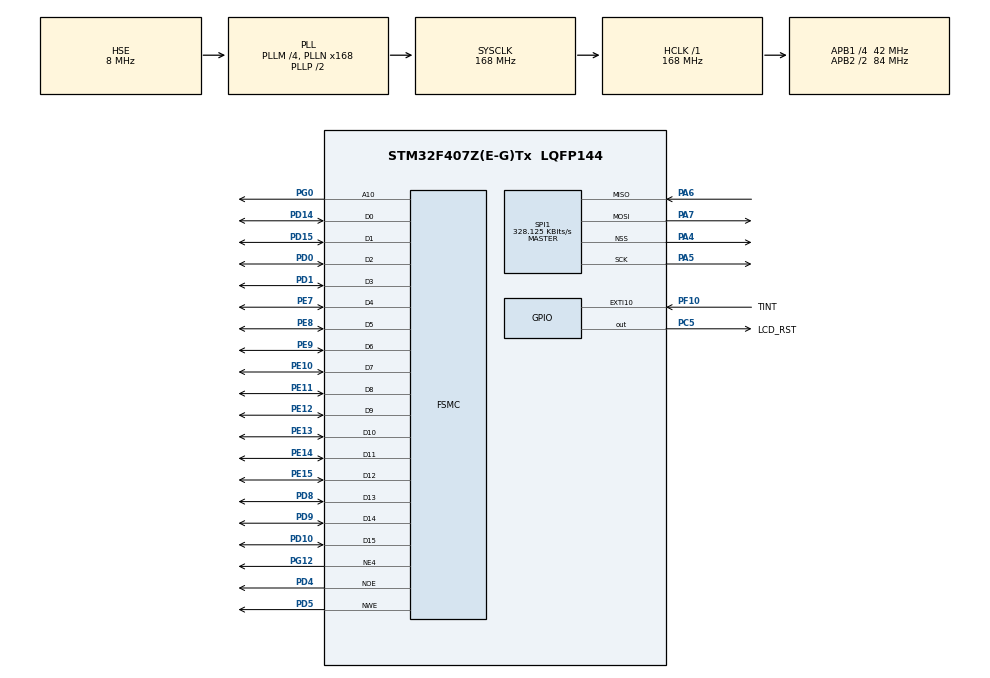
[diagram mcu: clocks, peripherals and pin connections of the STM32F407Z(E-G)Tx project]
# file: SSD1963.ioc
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FSMC.AddressSetupTime1=2
FSMC.BusTurnAroundDuration1=0
FSMC.DataSetupTime1=5
Mcu.Family=STM32F4
Mcu.Name=STM32F407Z(E-G)Tx
Mcu.Package=LQFP144
NVIC.EXTI15_10_IRQn=true\:0\:0\:false\:false\:true\:true\:true
NVIC.PriorityGroup=NVIC_PRIORITYGROUP_4
NVIC.RCC_IRQn=true\:0\:0\:false\:false\:true\:true\:false
NVIC.SPI1_IRQn=true\:0\:0\:false\:false\:true\:true\:true
PA13.Mode=Serial_Wire
PA13.Signal=SYS_JTMS-SWDIO
PA14.Mode=Serial_Wire
PA14.Signal=SYS_JTCK-SWCLK
PA4.Mode=NSS_Signal_Hard_Output
PA4.Signal=SPI1_NSS
PA5.Mode=Full_Duplex_Master
PA5.Signal=SPI1_SCK
PA6.Mode=Full_Duplex_Master
PA6.Signal=SPI1_MISO
PA7.Mode=Full_Duplex_Master
PA7.Signal=SPI1_MOSI
PC14-OSC32_IN.Mode=LSE-External-Oscillator
PC14-OSC32_IN.Signal=RCC_OSC32_IN
PC15-OSC32_OUT.Mode=LSE-External-Oscillator
PC15-OSC32_OUT.Signal=RCC_OSC32_OUT
PC5.GPIO_Label=LCD_RST
PC5.PinState=GPIO_PIN_SET
PC5.Signal=GPIO_Output
PD0.Signal=FSMC_D2_DA2
PD1.Signal=FSMC_D3_DA3
PD10.Signal=FSMC_D15_DA15
PD14.Signal=FSMC_D0_DA0
PD15.Signal=FSMC_D1_DA1
PD4.Signal=FSMC_NOE
PD5.Signal=FSMC_NWE
PD8.Signal=FSMC_D13_DA13
PD9.Signal=FSMC_D14_DA14
PE10.Signal=FSMC_D7_DA7
PE11.Signal=FSMC_D8_DA8
PE12.Signal=FSMC_D9_DA9
PE13.Signal=FSMC_D10_DA10
PE14.Signal=FSMC_D11_DA11
PE15.Signal=FSMC_D12_DA12
PE7.Signal=FSMC_D4_DA4
PE8.Signal=FSMC_D5_DA5
PE9.Signal=FSMC_D6_DA6
PF10.GPIO_Label=TINT
PF10.GPIO_ModeDefaultEXTI=GPIO_MODE_IT_FALLING
PF10.GPIO_PuPd=GPIO_PULLUP
PF10.Signal=GPXTI10
PG0.Signal=FSMC_A10
PG12.Mode=NorPsramChipSelect4_1
PG12.Signal=FSMC_NE4
PH0-OSC_IN.Mode=HSE-External-Oscillator
PH0-OSC_IN.Signal=RCC_OSC_IN
PH1-OSC_OUT.Mode=HSE-External-Oscillator
PH1-OSC_OUT.Signal=RCC_OSC_OUT
ProjectManager.HeapSize=0x200
ProjectManager.StackSize=0x400
ProjectManager.TargetToolchain=MDK-ARM V5
RCC.48MHZClocksFreq_Value=48000000
RCC.AHBFreq_Value=168000000
RCC.APB1CLKDivider=RCC_HCLK_DIV4
RCC.APB1Freq_Value=42000000
RCC.APB1TimFreq_Value=84000000
RCC.APB2CLKDivider=RCC_HCLK_DIV2
RCC.APB2Freq_Value=84000000
RCC.APB2TimFreq_Value=168000000
RCC.CortexFreq_Value=168000000
RCC.HCLKFreq_Value=168000000
RCC.HSE_VALUE=8000000
RCC.HSI_VALUE=16000000
RCC.PLLM=4
RCC.PLLN=168
RCC.PLLQ=7
RCC.PLLSourceVirtual=RCC_PLLSOURCE_HSE
RCC.RCC_RTC_Clock_Source=RCC_RTCCLKSOURCE_LSE
RCC.RCC_RTC_Clock_SourceVirtual=RCC_RTCCLKSOURCE_LSE
RCC.SYSCLKFreq_VALUE=168000000
RCC.SYSCLKSource=RCC_SYSCLKSOURCE_PLLCLK
RCC.VCOOutputFreq_Value=336000000
SH.FSMC_A10.0=FSMC_A10,A10_1
SH.FSMC_D0_DA0.0=FSMC_D0,16b-d1
SH.FSMC_D10_DA10.0=FSMC_D10,16b-d1
SH.FSMC_D11_DA11.0=FSMC_D11,16b-d1
SH.FSMC_D12_DA12.0=FSMC_D12,16b-d1
SH.FSMC_D13_DA13.0=FSMC_D13,16b-d1
SH.FSMC_D14_DA14.0=FSMC_D14,16b-d1
SH.FSMC_D15_DA15.0=FSMC_D15,16b-d1
SH.FSMC_D1_DA1.0=FSMC_D1,16b-d1
SH.FSMC_D2_DA2.0=FSMC_D2,16b-d1
SH.FSMC_D3_DA3.0=FSMC_D3,16b-d1
SH.FSMC_D4_DA4.0=FSMC_D4,16b-d1
SH.FSMC_D5_DA5.0=FSMC_D5,16b-d1
SH.FSMC_D6_DA6.0=FSMC_D6,16b-d1
SH.FSMC_D7_DA7.0=FSMC_D7,16b-d1
SH.FSMC_D8_DA8.0=FSMC_D8,16b-d1
SH.FSMC_D9_DA9.0=FSMC_D9,16b-d1
SH.FSMC_NOE.0=FSMC_NOE,Lcd1
SH.FSMC_NWE.0=FSMC_NWE,Lcd1
SPI1.BaudRatePrescaler=SPI_BAUDRATEPRESCALER_256
SPI1.CalculateBaudRate=328.125 KBits/s
SPI1.Direction=SPI_DIRECTION_2LINES
SPI1.Mode=SPI_MODE_MASTER
SPI1.VirtualNSS=VM_NSSHARD
SPI1.VirtualType=VM_MASTER
VP_RNG_VS_RNG.Mode=RNG_Activate
VP_RTC_VS_RTC_Activate.Mode=RTC_Enabled
VP_RTC_VS_RTC_Calendar.Mode=RTC_Calendar
board=custom

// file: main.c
/* USER CODE BEGIN Header */
/**
  ******************************************************************************
  * @file           : main.c
  * @brief          : Main program body
  ******************************************************************************
  * @attention
  *
  * <h2><center>&copy; Copyright (c) 2019 STMicroelectronics.
  * All rights reserved.</center></h2>
  *
  * This software component is licensed by ST under BSD 3-Clause license,
  * the "License"; You may not use this file except in compliance with the
  * License. You may obtain a copy of the License at:
  *                        opensource.org/licenses/BSD-3-Clause
  *
  ******************************************************************************
  */
/* USER CODE END Header */

#include "main.h"
#include "rng.h"
#include "rtc.h"
#include "spi.h"
#include "gpio.h"
#include "fsmc.h"

/* USER CODE BEGIN Includes */
#include	"ssd1963_fsmc.h"
#include	"xpt2046.h"
//fonts
#include "fonts/Font_24_Grotesk_Bold.h"

/* USER CODE END Includes */

/* USER CODE BEGIN PD */
#define greed_step	80
/* USER CODE END PD */

/* USER CODE BEGIN PV */
/* Private variables ---------------------------------------------------------*/
uint8_t touchIRQ = 0;
uint16_t touchX = 0, touchY = 0;
//uint64_t millis = 0;
//uint64_t micros = 0;

/* USER CODE END PV */

void SystemClock_Config(void);

int main(void)
{

  /* MCU Configuration--------------------------------------------------------*/

  /* Reset of all peripherals, Initializes the Flash interface and the Systick. */
  HAL_Init();

  /* Configure the system clock */
  SystemClock_Config();

  /* Initialize all configured peripherals */
  MX_GPIO_Init();
  MX_RNG_Init();
  MX_RTC_Init();
  MX_FSMC_Init();
  MX_SPI1_Init();
  /* USER CODE BEGIN 2 */
	LCD_Init();
	XPT2046_Init();

	// clear screen
	LCD_Rect_Fill(0, 0, LCD_WIDTH, LCD_HEIGHT, BLACK);
	// set brightness
	LCD_Bright(0x3F);
		// prompt
	LCD_Font(260, 240, "Test touch", _32_Grotesk_Bold, 1, WHITE);
	HAL_Delay(2000);
	LCD_Rect_Fill(0, 0, LCD_WIDTH, LCD_HEIGHT, BLACK);
	// grid
	LCD_Line(0, LCD_HEIGHT-1, LCD_WIDTH-1, LCD_HEIGHT-1, 1, GRAY);
	LCD_Line(LCD_WIDTH-2, 0, LCD_WIDTH-2, LCD_HEIGHT-2, 1, GRAY);
	for(uint16_t i=0; i < LCD_HEIGHT; i=i+greed_step)
	{
		LCD_Line(0, i, LCD_WIDTH-1, i, 1, GRAY);
	}
	for(uint16_t i=0; i < LCD_WIDTH; i=i+greed_step)
	{
		LCD_Line(i, 0, i, LCD_HEIGHT-1, 1, GRAY);
	}

  /* USER CODE END 2 */

  /* Infinite loop */
  while (1)
  {

    /* USER CODE BEGIN 3 */
		if (touchIRQ)
		{
		touchX = getX();
		touchY = getY();
		if (touchX && touchY)
		{
			LCD_Rect_Fill(touchX, touchY, 4, 4, GREEN);
			//LCD_Pixel(touchX, touchY, WHITE);

		}
		//HAL_GPIO_WritePin(GPIOA, GPIO_PIN_6, GPIO_PIN_RESET);

		touchX = 0;
		touchY = 0;
		touchIRQ = 0;
		}

  }
  /* USER CODE END 3 */
}

void SystemClock_Config(void)
{
  RCC_OscInitTypeDef RCC_OscInitStruct = {0};
  RCC_ClkInitTypeDef RCC_ClkInitStruct = {0};
  RCC_PeriphCLKInitTypeDef PeriphClkInitStruct = {0};

  /** Configure the main internal regulator output voltage
  */
  __HAL_RCC_PWR_CLK_ENABLE();
  __HAL_PWR_VOLTAGESCALING_CONFIG(PWR_REGULATOR_VOLTAGE_SCALE1);
  /** Initializes the CPU, AHB and APB busses clocks
  */
  RCC_OscInitStruct.OscillatorType = RCC_OSCILLATORTYPE_HSE|RCC_OSCILLATORTYPE_LSE;
  RCC_OscInitStruct.HSEState = RCC_HSE_ON;
  RCC_OscInitStruct.LSEState = RCC_LSE_ON;
  RCC_OscInitStruct.PLL.PLLState = RCC_PLL_ON;
  RCC_OscInitStruct.PLL.PLLSource = RCC_PLLSOURCE_HSE;
  RCC_OscInitStruct.PLL.PLLM = 4;
  RCC_OscInitStruct.PLL.PLLN = 168;
  RCC_OscInitStruct.PLL.PLLP = RCC_PLLP_DIV2;
  RCC_OscInitStruct.PLL.PLLQ = 7;
  if (HAL_RCC_OscConfig(&RCC_OscInitStruct) != HAL_OK)
  {
    Error_Handler();
  }
  /** Initializes the CPU, AHB and APB busses clocks
  */
  RCC_ClkInitStruct.ClockType = RCC_CLOCKTYPE_HCLK|RCC_CLOCKTYPE_SYSCLK
                              |RCC_CLOCKTYPE_PCLK1|RCC_CLOCKTYPE_PCLK2;
  RCC_ClkInitStruct.SYSCLKSource = RCC_SYSCLKSOURCE_PLLCLK;
  RCC_ClkInitStruct.AHBCLKDivider = RCC_SYSCLK_DIV1;
  RCC_ClkInitStruct.APB1CLKDivider = RCC_HCLK_DIV4;
  RCC_ClkInitStruct.APB2CLKDivider = RCC_HCLK_DIV2;

  if (HAL_RCC_ClockConfig(&RCC_ClkInitStruct, FLASH_LATENCY_5) != HAL_OK)
  {
    Error_Handler();
  }
  PeriphClkInitStruct.PeriphClockSelection = RCC_PERIPHCLK_RTC;
  PeriphClkInitStruct.RTCClockSelection = RCC_RTCCLKSOURCE_LSE;
  if (HAL_RCCEx_PeriphCLKConfig(&PeriphClkInitStruct) != HAL_OK)
  {
    Error_Handler();
  }
}

/* USER CODE BEGIN 4 */
void HAL_GPIO_EXTI_Callback(uint16_t GPIO_Pin)
{
 if (GPIO_Pin == GPIO_PIN_10) touchIRQ = 1;
 else { __NOP(); }
}

/* USER CODE END 4 */

void Error_Handler(void)
{
}

/************************ (C) COPYRIGHT STMicroelectronics *****END OF FILE****/
